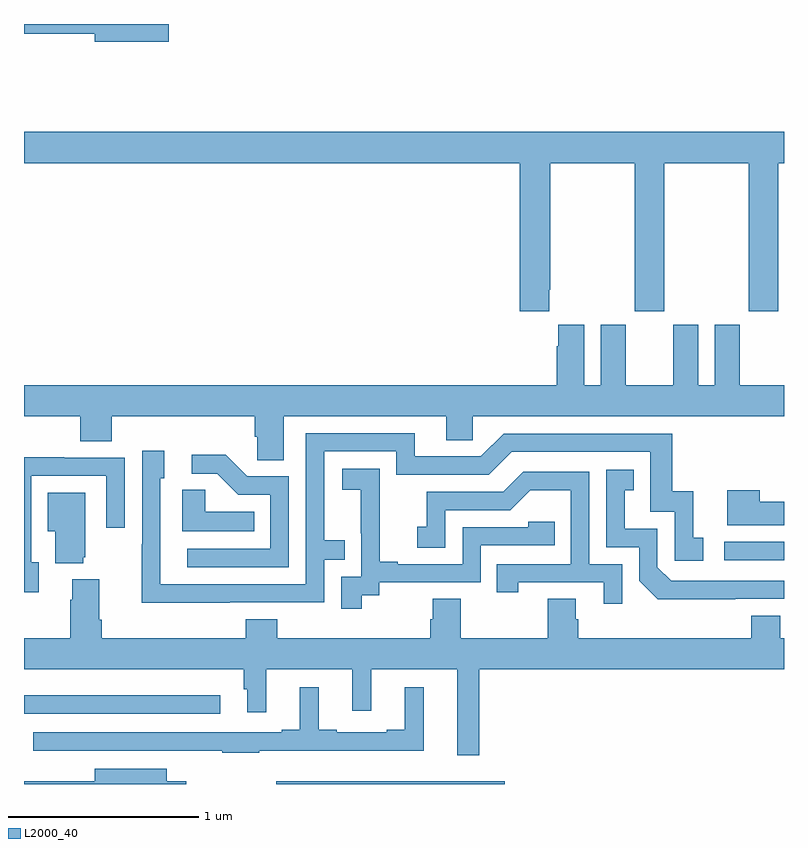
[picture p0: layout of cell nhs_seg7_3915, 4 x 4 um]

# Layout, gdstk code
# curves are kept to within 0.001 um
import gdstk
lib = gdstk.Library(unit=1e-6, precision=1e-09)
def R(c, l, rs):  # rectangles x0, y0, x1, y1
    for r in rs: c.add(gdstk.rectangle(r[:2], r[2:], *l))
def P(c, l, *ps):  # polygons
    for p in ps: c.add(gdstk.Polygon(p, *l))
L2000_40 = (2000, 40)

nhs_seg7_3915 = lib.new_cell('nhs_seg7_3915')
R(nhs_seg7_3915, L2000_40, [(360.327,1012,361.529,1012.015), (359,1012.371,360.034,1012.468), (362.685,1013.178,363,1013.274)])
P(nhs_seg7_3915, L2000_40, [(359.761,1016),(359,1016),(359,1015.948),(359.372,1015.948),(359.372,1015.906),(359.761,1015.906)],
  [(361.765,1014.601),(361.77,1014.601),(361.77,1015.268),(362.215,1015.268),(362.215,1014.489),(362.37,1014.489),(362.37,1015.268),(362.815,1015.268),(362.815,1014.489),(362.97,1014.489),(362.97,1015.268),(363,1015.268),(363,1015.432),(359,1015.432),(359,1015.268),(361.61,1015.268),(361.61,1014.489),(361.765,1014.489)],
  [(360.367,1013.936),(361.223,1013.936),(361.223,1013.809),(361.362,1013.809),(361.362,1013.936),(363,1013.936),(363,1014.1),(362.767,1014.1),(362.767,1014.418),(362.636,1014.418),(362.636,1014.1),(362.548,1014.1),(362.548,1014.418),(362.417,1014.418),(362.417,1014.1),(362.167,1014.1),(362.167,1014.418),(362.036,1014.418),(362.036,1014.1),(361.948,1014.1),(361.948,1014.418),(361.811,1014.418),(361.811,1014.305),(361.805,1014.305),(361.805,1014.1),(359,1014.1),(359,1013.936),(359.297,1013.936),(359.297,1013.803),(359.462,1013.803),(359.462,1013.936),(360.215,1013.936),(360.215,1013.827),(360.228,1013.827),(360.228,1013.704),(360.367,1013.704)],
  [(360.083,1012.956),(360.579,1012.956),(360.579,1013.181),(360.689,1013.181),(360.689,1013.282),(360.579,1013.282),(360.579,1013.751),(360.96,1013.751),(360.96,1013.628),(361.446,1013.628),(361.566,1013.748),(362.295,1013.748),(362.295,1013.433),(362.424,1013.433),(362.424,1013.175),(362.575,1013.175),(362.575,1013.295),(362.522,1013.295),(362.522,1013.542),(362.411,1013.542),(362.411,1013.844),(361.524,1013.844),(361.404,1013.724),(361.057,1013.724),(361.057,1013.847),(360.483,1013.847),(360.483,1013.052),(359.718,1013.052),(359.718,1013.61),(359.737,1013.61),(359.737,1013.755),(359.622,1013.755),(359.622,1013.261),(359.62,1013.261),(359.62,1012.955)],
  [(360.393,1013.619),(360.174,1013.619),(360.061,1013.732),(359.883,1013.732),(359.883,1013.634),(360.017,1013.634),(360.128,1013.523),(360.297,1013.523),(360.297,1013.238),(359.859,1013.238),(359.859,1013.142),(360.393,1013.142)],
  [(359.077,1013.166),(359.037,1013.166),(359.037,1013.622),(359.433,1013.622),(359.433,1013.349),(359.529,1013.349),(359.529,1013.718),(359.213,1013.718),(359.213,1013.72),(359,1013.72),(359,1013.01),(359.077,1013.01)],
  [(360.778,1012.993),(360.87,1012.993),(360.87,1013.061),(361.404,1013.061),(361.404,1013.256),(361.793,1013.256),(361.793,1013.379),(361.653,1013.379),(361.653,1013.352),(361.308,1013.352),(361.308,1013.157),(360.967,1013.157),(360.967,1013.17),(360.872,1013.17),(360.872,1013.453),(360.873,1013.453),(360.873,1013.659),(360.675,1013.659),(360.675,1013.549),(360.773,1013.549),(360.773,1013.321),(360.774,1013.321),(360.774,1013.091),(360.669,1013.091),(360.669,1012.923),(360.778,1012.923)],
  [(362.744,1012.974),(363,1012.974),(363,1013.07),(362.406,1013.07),(362.334,1013.142),(362.334,1013.343),(362.161,1013.343),(362.161,1013.547),(362.21,1013.547),(362.21,1013.653),(362.064,1013.653),(362.064,1013.247),(362.238,1013.247),(362.238,1013.07),(362.336,1012.973)],
  [(362.148,1013.157),(361.974,1013.157),(361.974,1013.643),(361.628,1013.643),(361.523,1013.538),(361.12,1013.538),(361.12,1013.353),(361.071,1013.353),(361.071,1013.244),(361.218,1013.244),(361.218,1013.442),(361.56,1013.442),(361.664,1013.546),(361.878,1013.546),(361.878,1013.157),(361.489,1013.157),(361.489,1013.01),(361.6,1013.01),(361.6,1013.061),(362.051,1013.061),(362.051,1012.95),(362.148,1012.95)],
  [(360.212,1013.434),(359.955,1013.434),(359.955,1013.549),(359.834,1013.549),(359.834,1013.33),(360.212,1013.33)],
  [(363,1013.485),(362.873,1013.485),(362.873,1013.545),(362.702,1013.545),(362.702,1013.363),(363,1013.363)],
  [(359.312,1013.193),(359.323,1013.193),(359.323,1013.533),(359.126,1013.533),(359.126,1013.33),(359.165,1013.33),(359.165,1013.162),(359.312,1013.162)],
  [(362.828,1012.885),(362.828,1012.768),(361.916,1012.768),(361.916,1012.866),(361.903,1012.866),(361.903,1012.976),(361.756,1012.976),(361.756,1012.768),(361.299,1012.768),(361.299,1012.976),(361.151,1012.976),(361.151,1012.866),(361.139,1012.866),(361.139,1012.768),(360.332,1012.768),(360.332,1012.867),(360.167,1012.867),(360.167,1012.768),(359.408,1012.768),(359.408,1012.864),(359.395,1012.864),(359.395,1013.077),(359.255,1013.077),(359.255,1012.97),(359.243,1012.97),(359.243,1012.768),(359,1012.768),(359,1012.604),(360.157,1012.604),(360.157,1012.499),(360.176,1012.499),(360.176,1012.377),(360.275,1012.377),(360.275,1012.604),(360.728,1012.604),(360.728,1012.386),(360.827,1012.386),(360.827,1012.604),(361.28,1012.604),(361.28,1012.152),(361.397,1012.152),(361.397,1012.604),(363,1012.604),(363,1012.768),(362.98,1012.768),(362.98,1012.885)],
  [(360.239,1012.175),(361.103,1012.175),(361.103,1012.51),(361.004,1012.51),(361.004,1012.285),(360.908,1012.285),(360.908,1012.272),(360.646,1012.272),(360.646,1012.285),(360.551,1012.285),(360.551,1012.51),(360.452,1012.51),(360.452,1012.285),(360.356,1012.285),(360.356,1012.272),(359.049,1012.272),(359.049,1012.175),(359.276,1012.175),(359.276,1012.176),(359.848,1012.176),(359.848,1012.175),(360.044,1012.175),(360.044,1012.164),(360.239,1012.164)],
  [(359.854,1012.015),(359.752,1012.015),(359.752,1012.081),(359.372,1012.081),(359.372,1012.015),(359,1012.015),(359,1012),(359.854,1012)])

lib.write_gds('nhs_seg7_3915.gds')
